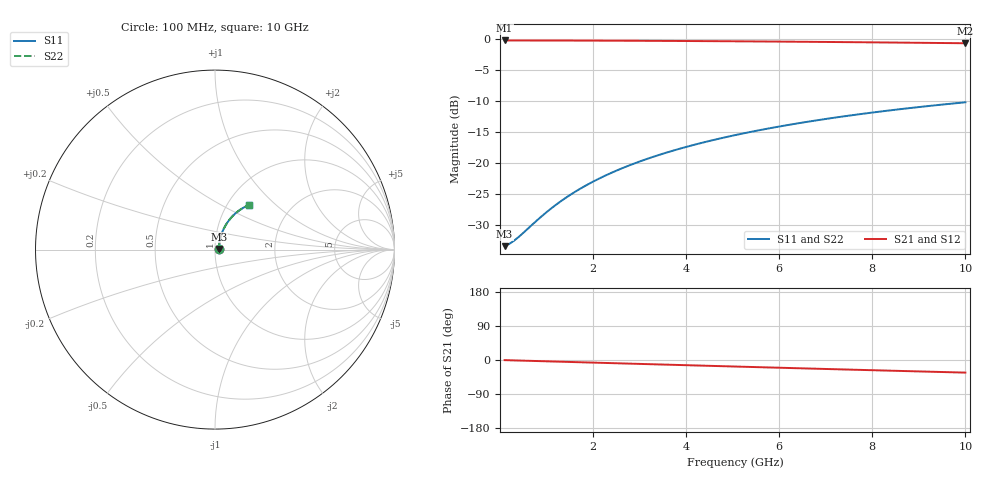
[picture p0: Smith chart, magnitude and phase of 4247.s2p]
# Hz S RI R 50.00
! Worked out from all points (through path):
!   100 points, 100 MHz to 10 GHz, reference 50 ohm
!   highest |S21| = -0.19 dB at 100 MHz (marker M1); lowest = -0.6 dB at 10 GHz (marker M2)
!   group delay of S21, straight-line fit = 9.27 ps
!   lowest |S11| = -33.4 dB at 100 MHz (marker M3), VSWR 1.04, Z = 52.2 + j0.342 ohm
!   |S11| at or under -10 dB: start of sweep to end of sweep
!   |S22| runs from -33.4 to -10.2 dB; largest |S21 - S12| = 0
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1e8  0.0212 0.00327  0.9788 -0.00589  0.9788 -0.00589  0.0212 0.00327
2e8  0.0214 0.00654  0.9785 -0.0118  0.9785 -0.0118  0.0214 0.00654
3e8  0.0216 0.00981  0.9783 -0.0176  0.9783 -0.0176  0.0216 0.00981
4e8  0.0219 0.0131  0.9781 -0.0235  0.9781 -0.0235  0.0219 0.0131
9e8  0.0234 0.0293  0.9763 -0.0529  0.9763 -0.0529  0.0234 0.0293
1.2e9  0.0248 0.039  0.9747 -0.0704  0.9747 -0.0704  0.0248 0.039
1.5e9  0.0265 0.0487  0.9727 -0.0879  0.9727 -0.0879  0.0265 0.0487
1.8e9  0.0285 0.0582  0.9704 -0.1053  0.9704 -0.1053  0.0285 0.0582
2.1e9  0.0308 0.0677  0.9676 -0.1226  0.9676 -0.1226  0.0308 0.0677
2.5e9  0.0345 0.0802  0.9633 -0.1455  0.9633 -0.1455  0.0345 0.0802
2.9e9  0.0387 0.0924  0.9583 -0.1682  0.9583 -0.1682  0.0387 0.0924
3.4e9  0.0448 0.1073  0.9511 -0.1962  0.9511 -0.1962  0.0448 0.1073
3.8e9  0.0503 0.119  0.9447 -0.2184  0.9447 -0.2184  0.0503 0.119
4.2e9  0.0562 0.1303  0.9375 -0.2402  0.9375 -0.2402  0.0562 0.1303
4.6e9  0.0627 0.1413  0.9298 -0.2617  0.9298 -0.2617  0.0627 0.1413
5.1e9  0.0715 0.1546  0.9193 -0.288  0.9193 -0.288  0.0715 0.1546
5.9e9  0.0871 0.1745  0.9007 -0.3289  0.9007 -0.3289  0.0871 0.1745
6.7e9  0.1042 0.1927  0.88 -0.3681  0.88 -0.3681  0.1042 0.1927
7.5e9  0.1228 0.209  0.8574 -0.4055  0.8574 -0.4055  0.1228 0.209
8.4e9  0.1451 0.2252  0.8299 -0.4454  0.8299 -0.4454  0.1451 0.2252
9.2e9  0.1659 0.2374  0.8041 -0.4787  0.8041 -0.4787  0.1659 0.2374
1e10  0.1874 0.2475  0.7769 -0.51  0.7769 -0.51  0.1874 0.2475
